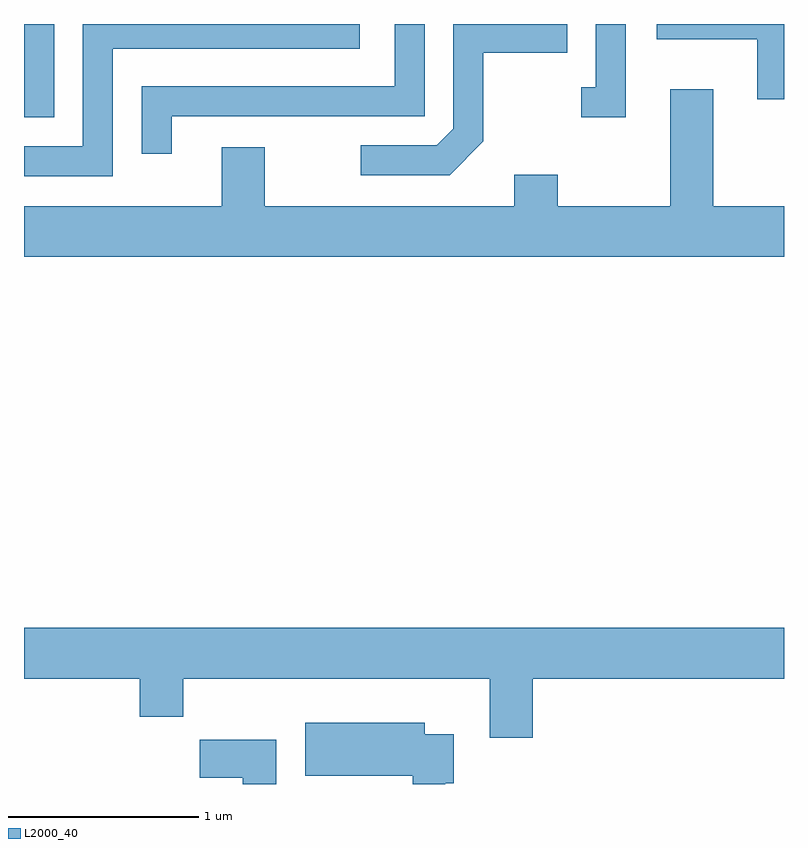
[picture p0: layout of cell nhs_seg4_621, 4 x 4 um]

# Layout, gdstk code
import gdstk
lib = gdstk.Library(unit=1e-6, precision=1e-09)
def R(c, l, rs):  # rectangles x0, y0, x1, y1
    for r in rs: c.add(gdstk.rectangle(r[:2], r[2:], *l))
def P(c, l, *ps):  # polygons
    for p in ps: c.add(gdstk.Polygon(p, *l))
L2000_40 = (2000, 40)

nhs_seg4_621 = lib.new_cell('nhs_seg4_621')
R(nhs_seg4_621, L2000_40, [(203.611,1275.491,203.769,1275.982)])
P(nhs_seg4_621, L2000_40, [(206.779,1275.982),(206.621,1275.982),(206.621,1275.649),(206.543,1275.649),(206.543,1275.491),(206.779,1275.491)],
  [(204.079,1275.851),(205.379,1275.851),(205.379,1275.982),(203.921,1275.982),(203.921,1275.339),(203.611,1275.339),(203.611,1275.181),(204.079,1275.181)],
  [(207.611,1275.982),(206.941,1275.982),(206.941,1275.901),(207.471,1275.901),(207.471,1275.586),(207.611,1275.586)],
  [(206.029,1275.364),(206.029,1275.831),(206.469,1275.831),(206.469,1275.982),(205.871,1275.982),(205.871,1275.432),(205.784,1275.344),(205.383,1275.344),(205.383,1275.186),(205.852,1275.186)],
  [(204.389,1275.496),(205.719,1275.496),(205.719,1275.982),(205.561,1275.982),(205.561,1275.654),(204.231,1275.654),(204.231,1275.298),(204.389,1275.298)],
  [(207.611,1275.024),(207.239,1275.024),(207.239,1275.639),(207.011,1275.639),(207.011,1275.024),(206.419,1275.024),(206.419,1275.189),(206.191,1275.189),(206.191,1275.024),(204.879,1275.024),(204.879,1275.334),(204.651,1275.334),(204.651,1275.024),(203.611,1275.024),(203.611,1274.756),(207.611,1274.756)],
  [(206.289,1272.536),(207.611,1272.536),(207.611,1272.804),(203.611,1272.804),(203.611,1272.536),(204.221,1272.536),(204.221,1272.336),(204.449,1272.336),(204.449,1272.536),(206.061,1272.536),(206.061,1272.226),(206.289,1272.226)],
  [(205.829,1271.986),(205.874,1271.986),(205.874,1272.244),(205.719,1272.244),(205.719,1272.304),(205.091,1272.304),(205.091,1272.026),(205.656,1272.026),(205.656,1271.982),(205.829,1271.982)],
  [(204.939,1272.214),(204.536,1272.214),(204.536,1272.016),(204.761,1272.016),(204.761,1271.982),(204.939,1271.982)])

lib.write_gds('nhs_seg4_621.gds')
